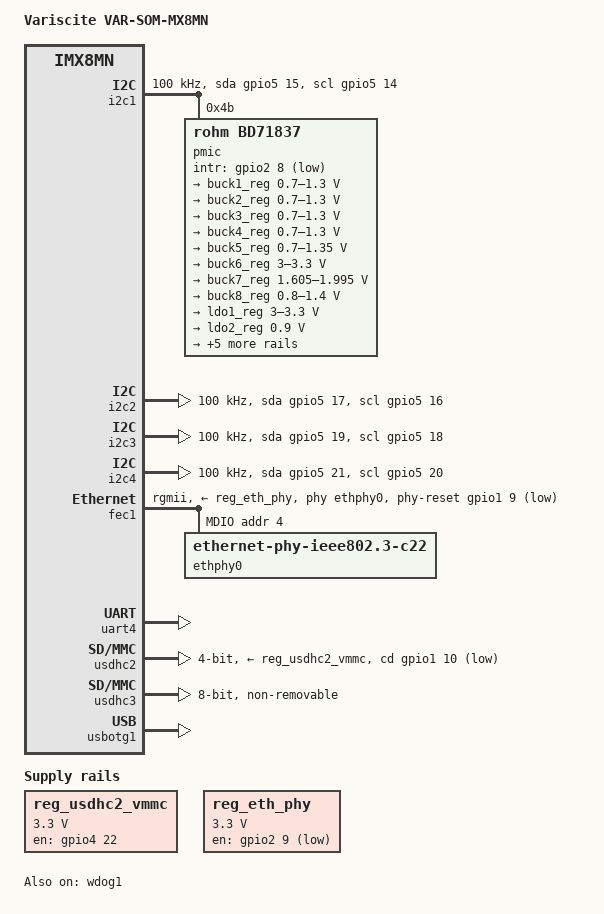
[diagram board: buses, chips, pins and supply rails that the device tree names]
/*
 * Copyright 2018-2019 NXP
 * Copyright 2019-2020 Variscite Ltd.
 *
 * This program is free software; you can redistribute it and/or
 * modify it under the terms of the GNU General Public License
 * as published by the Free Software Foundation; either version 2
 * of the License, or (at your option) any later version.
 *
 * This program is distributed in the hope that it will be useful,
 * but WITHOUT ANY WARRANTY; without even the implied warranty of
 * MERCHANTABILITY or FITNESS FOR A PARTICULAR PURPOSE.  See the
 * GNU General Public License for more details.
 */

/dts-v1/;

#include "fsl-imx8mn.dtsi"

/ {
	model = "Variscite VAR-SOM-MX8MN";
	compatible = "variscite,imx8mn-var-som", "fsl,imx8mn";

	chosen {
		bootargs = "console=ttymxc3,115200 earlycon=ec_imx6q,0x30a60000,115200";
		stdout-path = &uart4;
	};

	regulators {
		compatible = "simple-bus";
		#address-cells = <1>;
		#size-cells = <0>;

		reg_usdhc2_vmmc: regulator-usdhc2 {
			compatible = "regulator-fixed";
			regulator-name = "VSD_3V3";
			regulator-min-microvolt = <3300000>;
			regulator-max-microvolt = <3300000>;
			gpio = <&gpio4 22 GPIO_ACTIVE_HIGH>;
			enable-active-high;
			startup-delay-us = <100>;
			u-boot,off-on-delay-us = <12000>;
		};

		reg_eth_phy: eth_phy {
			compatible = "regulator-fixed";
			regulator-name = "eth_phy_pwr";
			regulator-min-microvolt = <3300000>;
			regulator-max-microvolt = <3300000>;
			gpio = <&gpio2 9 GPIO_ACTIVE_HIGH>;
		};
	};
};

&iomuxc {
	pinctrl-names = "default";

	imx8mn-var-som {
		pinctrl_fec1: fec1grp {
			fsl,pins = <
				MX8MN_IOMUXC_ENET_MDC__ENET1_MDC		0x3
				MX8MN_IOMUXC_ENET_MDIO__ENET1_MDIO		0x3
				MX8MN_IOMUXC_ENET_TD3__ENET1_RGMII_TD3		0x1f
				MX8MN_IOMUXC_ENET_TD2__ENET1_RGMII_TD2		0x1f
				MX8MN_IOMUXC_ENET_TD1__ENET1_RGMII_TD1		0x1f
				MX8MN_IOMUXC_ENET_TD0__ENET1_RGMII_TD0		0x1f
				MX8MN_IOMUXC_ENET_RD3__ENET1_RGMII_RD3		0x91
				MX8MN_IOMUXC_ENET_RD2__ENET1_RGMII_RD2		0x91
				MX8MN_IOMUXC_ENET_RD1__ENET1_RGMII_RD1		0x91
				MX8MN_IOMUXC_ENET_RD0__ENET1_RGMII_RD0		0x91
				MX8MN_IOMUXC_ENET_TXC__ENET1_RGMII_TXC		0x1f
				MX8MN_IOMUXC_ENET_RXC__ENET1_RGMII_RXC		0x91
				MX8MN_IOMUXC_ENET_RX_CTL__ENET1_RGMII_RX_CTL	0x91
				MX8MN_IOMUXC_ENET_TX_CTL__ENET1_RGMII_TX_CTL	0x1f
				MX8MN_IOMUXC_GPIO1_IO09__GPIO1_IO9		0x19
				MX8MN_IOMUXC_SD1_DATA7__GPIO2_IO9 		0x41
			>;
		};

		pinctrl_i2c1: i2c1grp {
			fsl,pins = <
				MX8MN_IOMUXC_I2C1_SCL__I2C1_SCL			0x400001c3
				MX8MN_IOMUXC_I2C1_SDA__I2C1_SDA			0x400001c3
			>;
		};

		pinctrl_i2c2: i2c2grp {
			fsl,pins = <
				MX8MN_IOMUXC_I2C2_SCL__I2C2_SCL			0x400001c3
				MX8MN_IOMUXC_I2C2_SDA__I2C2_SDA			0x400001c3
			>;
		};

		pinctrl_i2c3: i2c3grp {
			fsl,pins = <
				MX8MN_IOMUXC_I2C3_SCL__I2C3_SCL			0x400001c3
				MX8MN_IOMUXC_I2C3_SDA__I2C3_SDA			0x400001c3
			>;
		};

		pinctrl_i2c4: i2c4grp {
			fsl,pins = <
				MX8MN_IOMUXC_I2C4_SCL__I2C4_SCL			0x400001c3
				MX8MN_IOMUXC_I2C4_SDA__I2C4_SDA			0x400001c3
			>;
		};

		pinctrl_i2c1_gpio: i2c1grp-gpio {
			fsl,pins = <
				MX8MN_IOMUXC_I2C1_SCL__GPIO5_IO14		0x1c3
				MX8MN_IOMUXC_I2C1_SDA__GPIO5_IO15		0x1c3
			>;
		};

		pinctrl_i2c2_gpio: i2c2grp-gpio {
			fsl,pins = <
				MX8MN_IOMUXC_I2C2_SCL__GPIO5_IO16		0x1c3
				MX8MN_IOMUXC_I2C2_SDA__GPIO5_IO17		0x1c3
			>;
		};

		pinctrl_i2c3_gpio: i2c3grp-gpio {
			fsl,pins = <
				MX8MN_IOMUXC_I2C3_SCL__GPIO5_IO18		0x1c3
				MX8MN_IOMUXC_I2C3_SDA__GPIO5_IO19		0x1c3
			>;
		};

		pinctrl_i2c4_gpio: i2c4grp-gpio {
			fsl,pins = <
				MX8MN_IOMUXC_I2C4_SCL__GPIO5_IO20		0x1c3
				MX8MN_IOMUXC_I2C4_SDA__GPIO5_IO21		0x1c3
			>;
		};

		pinctrl_pmic: pmicirq {
			fsl,pins = <
				MX8MN_IOMUXC_SD1_DATA6__GPIO2_IO8		0x41
			>;
		};

		pinctrl_uart4: uart4grp {
			fsl,pins = <
				MX8MN_IOMUXC_UART4_RXD__UART4_DCE_RX		0x49
				MX8MN_IOMUXC_UART4_TXD__UART4_DCE_TX		0x49
			>;
		};

		pinctrl_usdhc2_gpio: usdhc2grpgpio {
			fsl,pins = <
				MX8MN_IOMUXC_SAI2_RXC__GPIO4_IO22		0x41
				MX8MN_IOMUXC_GPIO1_IO10__GPIO1_IO10		0x41
			>;
		};

		pinctrl_usdhc2: usdhc2grp {
			fsl,pins = <
				MX8MN_IOMUXC_SD2_CLK__USDHC2_CLK		0x190
				MX8MN_IOMUXC_SD2_CMD__USDHC2_CMD		0x1d0
				MX8MN_IOMUXC_SD2_DATA0__USDHC2_DATA0		0x1d0
				MX8MN_IOMUXC_SD2_DATA1__USDHC2_DATA1		0x1d0
				MX8MN_IOMUXC_SD2_DATA2__USDHC2_DATA2		0x1d0
				MX8MN_IOMUXC_SD2_DATA3__USDHC2_DATA3		0x1d0
				MX8MN_IOMUXC_GPIO1_IO04__USDHC2_VSELECT		0x1d0
			>;
		};

		pinctrl_usdhc2_100mhz: usdhc2grp100mhz {
			fsl,pins = <
				MX8MN_IOMUXC_SD2_CLK__USDHC2_CLK		0x194
				MX8MN_IOMUXC_SD2_CMD__USDHC2_CMD		0x1d4
				MX8MN_IOMUXC_SD2_DATA0__USDHC2_DATA0		0x1d4
				MX8MN_IOMUXC_SD2_DATA1__USDHC2_DATA1		0x1d4
				MX8MN_IOMUXC_SD2_DATA2__USDHC2_DATA2		0x1d4
				MX8MN_IOMUXC_SD2_DATA3__USDHC2_DATA3		0x1d4
				MX8MN_IOMUXC_GPIO1_IO04__USDHC2_VSELECT		0x1d0
			>;
		};

		pinctrl_usdhc2_200mhz: usdhc2grp200mhz {
			fsl,pins = <
				MX8MN_IOMUXC_SD2_CLK__USDHC2_CLK		0x196
				MX8MN_IOMUXC_SD2_CMD__USDHC2_CMD		0x1d6
				MX8MN_IOMUXC_SD2_DATA0__USDHC2_DATA0		0x1d6
				MX8MN_IOMUXC_SD2_DATA1__USDHC2_DATA1		0x1d6
				MX8MN_IOMUXC_SD2_DATA2__USDHC2_DATA2		0x1d6
				MX8MN_IOMUXC_SD2_DATA3__USDHC2_DATA3		0x1d6
				MX8MN_IOMUXC_GPIO1_IO04__USDHC2_VSELECT		0x1d0
			>;
		};

		pinctrl_usdhc3: usdhc3grp {
			fsl,pins = <
				MX8MN_IOMUXC_NAND_WE_B__USDHC3_CLK		0x40000190
				MX8MN_IOMUXC_NAND_WP_B__USDHC3_CMD		0x1d0
				MX8MN_IOMUXC_NAND_DATA04__USDHC3_DATA0		0x1d0
				MX8MN_IOMUXC_NAND_DATA05__USDHC3_DATA1		0x1d0
				MX8MN_IOMUXC_NAND_DATA06__USDHC3_DATA2		0x1d0
				MX8MN_IOMUXC_NAND_DATA07__USDHC3_DATA3		0x1d0
				MX8MN_IOMUXC_NAND_RE_B__USDHC3_DATA4		0x1d0
				MX8MN_IOMUXC_NAND_CE2_B__USDHC3_DATA5		0x1d0
				MX8MN_IOMUXC_NAND_CE3_B__USDHC3_DATA6		0x1d0
				MX8MN_IOMUXC_NAND_CLE__USDHC3_DATA7		0x1d0
				MX8MN_IOMUXC_NAND_CE1_B__USDHC3_STROBE 		0x190
			>;
		};

		pinctrl_usdhc3_100mhz: usdhc3grp100mhz {
			fsl,pins = <
				MX8MN_IOMUXC_NAND_WE_B__USDHC3_CLK		0x40000194
				MX8MN_IOMUXC_NAND_WP_B__USDHC3_CMD		0x1d4
				MX8MN_IOMUXC_NAND_DATA04__USDHC3_DATA0		0x1d4
				MX8MN_IOMUXC_NAND_DATA05__USDHC3_DATA1		0x1d4
				MX8MN_IOMUXC_NAND_DATA06__USDHC3_DATA2		0x1d4
				MX8MN_IOMUXC_NAND_DATA07__USDHC3_DATA3		0x1d4
				MX8MN_IOMUXC_NAND_RE_B__USDHC3_DATA4		0x1d4
				MX8MN_IOMUXC_NAND_CE2_B__USDHC3_DATA5		0x1d4
				MX8MN_IOMUXC_NAND_CE3_B__USDHC3_DATA6		0x1d4
				MX8MN_IOMUXC_NAND_CLE__USDHC3_DATA7		0x1d4
				MX8MN_IOMUXC_NAND_CE1_B__USDHC3_STROBE 		0x194
			>;
		};

		pinctrl_usdhc3_200mhz: usdhc3grp200mhz {
			fsl,pins = <
				MX8MN_IOMUXC_NAND_WE_B__USDHC3_CLK		0x40000196
				MX8MN_IOMUXC_NAND_WP_B__USDHC3_CMD		0x1d6
				MX8MN_IOMUXC_NAND_DATA04__USDHC3_DATA0		0x1d6
				MX8MN_IOMUXC_NAND_DATA05__USDHC3_DATA1		0x1d6
				MX8MN_IOMUXC_NAND_DATA06__USDHC3_DATA2		0x1d6
				MX8MN_IOMUXC_NAND_DATA07__USDHC3_DATA3		0x1d6
				MX8MN_IOMUXC_NAND_RE_B__USDHC3_DATA4		0x1d6
				MX8MN_IOMUXC_NAND_CE2_B__USDHC3_DATA5		0x1d6
				MX8MN_IOMUXC_NAND_CE3_B__USDHC3_DATA6		0x1d6
				MX8MN_IOMUXC_NAND_CLE__USDHC3_DATA7		0x1d6
				MX8MN_IOMUXC_NAND_CE1_B__USDHC3_STROBE 		0x196
			>;
		};

		pinctrl_wdog: wdoggrp {
			fsl,pins = <
				MX8MN_IOMUXC_GPIO1_IO02__WDOG1_WDOG_B		0xc6
			>;
		};
	};
};

&i2c1 {
	clock-frequency = <100000>;
	pinctrl-names = "default", "gpio";
	pinctrl-0 = <&pinctrl_i2c1>;
	pinctrl-1 = <&pinctrl_i2c1_gpio>;
	scl-gpios = <&gpio5 14 GPIO_ACTIVE_HIGH>;
	sda-gpios = <&gpio5 15 GPIO_ACTIVE_HIGH>;
	u-boot,dm-pre-reloc;
	status = "okay";

	pmic: bd71837@4b {
		reg = <0x4b>;
		compatible = "rohm,bd71837";
		/* PMIC BD71837 PMIC_nINT GPIO1_IO3 */
		pinctrl-0 = <&pinctrl_pmic>;
		gpio_intr = <&gpio2 8 GPIO_ACTIVE_LOW>;

		gpo {
			rohm,drv = <0x0C>;	/* 0b0000_1100 all gpos with cmos output mode */
		};

		regulators {
			#address-cells = <1>;
			#size-cells = <0>;

			bd71837,pmic-buck2-uses-i2c-dvs;
			bd71837,pmic-buck2-dvs-voltage = <1000000>, <900000>, <0>; /* VDD_ARM: Run-Idle */

			buck1_reg: regulator@0 {
				reg = <0>;
				regulator-compatible = "buck1";
				regulator-min-microvolt = <700000>;
				regulator-max-microvolt = <1300000>;
				regulator-boot-on;
				regulator-always-on;
				regulator-ramp-delay = <1250>;
			};

			buck2_reg: regulator@1 {
				reg = <1>;
				regulator-compatible = "buck2";
				regulator-min-microvolt = <700000>;
				regulator-max-microvolt = <1300000>;
				regulator-boot-on;
				regulator-always-on;
				regulator-ramp-delay = <1250>;
			};

			buck3_reg: regulator@2 {
				reg = <2>;
				regulator-compatible = "buck3";
				regulator-min-microvolt = <700000>;
				regulator-max-microvolt = <1300000>;
			};

			buck4_reg: regulator@3 {
				reg = <3>;
				regulator-compatible = "buck4";
				regulator-min-microvolt = <700000>;
				regulator-max-microvolt = <1300000>;
			};

			buck5_reg: regulator@4 {
				reg = <4>;
				regulator-compatible = "buck5";
				regulator-min-microvolt = <700000>;
				regulator-max-microvolt = <1350000>;
			};

			buck6_reg: regulator@5 {
				reg = <5>;
				regulator-compatible = "buck6";
				regulator-min-microvolt = <3000000>;
				regulator-max-microvolt = <3300000>;
				regulator-boot-on;
				regulator-always-on;
			};

			buck7_reg: regulator@6 {
				reg = <6>;
				regulator-compatible = "buck7";
				regulator-min-microvolt = <1605000>;
				regulator-max-microvolt = <1995000>;
				regulator-boot-on;
				regulator-always-on;
			};

			buck8_reg: regulator@7 {
				reg = <7>;
				regulator-compatible = "buck8";
				regulator-min-microvolt = <800000>;
				regulator-max-microvolt = <1400000>;
				regulator-boot-on;
				regulator-always-on;
			};

			ldo1_reg: regulator@8 {
				reg = <8>;
				regulator-compatible = "ldo1";
				regulator-min-microvolt = <3000000>;
				regulator-max-microvolt = <3300000>;
				regulator-boot-on;
				regulator-always-on;
			};

			ldo2_reg: regulator@9 {
				reg = <9>;
				regulator-compatible = "ldo2";
				regulator-min-microvolt = <900000>;
				regulator-max-microvolt = <900000>;
				regulator-boot-on;
				regulator-always-on;
			};

			ldo3_reg: regulator@10 {
				reg = <10>;
				regulator-compatible = "ldo3";
				regulator-min-microvolt = <1800000>;
				regulator-max-microvolt = <3300000>;
				regulator-boot-on;
				regulator-always-on;
			};

			ldo4_reg: regulator@11 {
				reg = <11>;
				regulator-compatible = "ldo4";
				regulator-min-microvolt = <900000>;
				regulator-max-microvolt = <1800000>;
			};

			ldo5_reg: regulator@12 {
				reg = <12>;
				regulator-compatible = "ldo5";
				regulator-min-microvolt = <1800000>;
				regulator-max-microvolt = <3300000>;
			};

			ldo6_reg: regulator@13 {
				reg = <13>;
				regulator-compatible = "ldo6";
				regulator-min-microvolt = <900000>;
				regulator-max-microvolt = <1800000>;
				regulator-boot-on;
				regulator-always-on;
			};

			ldo7_reg: regulator@14 {
				reg = <14>;
				regulator-compatible = "ldo7";
				regulator-min-microvolt = <1800000>;
				regulator-max-microvolt = <3300000>;
			};
		};
	};
};

&i2c2 {
	clock-frequency = <100000>;
	pinctrl-names = "default", "gpio";
	pinctrl-0 = <&pinctrl_i2c2>;
	pinctrl-1 = <&pinctrl_i2c2_gpio>;
	scl-gpios = <&gpio5 16 GPIO_ACTIVE_HIGH>;
	sda-gpios = <&gpio5 17 GPIO_ACTIVE_HIGH>;
	status = "okay";
};

&i2c3 {
	clock-frequency = <100000>;
	pinctrl-names = "default", "gpio";
	pinctrl-0 = <&pinctrl_i2c3>;
	pinctrl-1 = <&pinctrl_i2c3_gpio>;
	scl-gpios = <&gpio5 18 GPIO_ACTIVE_HIGH>;
	sda-gpios = <&gpio5 19 GPIO_ACTIVE_HIGH>;
	status = "okay";
};

&i2c4 {
	clock-frequency = <100000>;
	pinctrl-names = "default", "gpio";
	pinctrl-0 = <&pinctrl_i2c4>;
	pinctrl-1 = <&pinctrl_i2c4_gpio>;
	scl-gpios = <&gpio5 20 GPIO_ACTIVE_HIGH>;
	sda-gpios = <&gpio5 21 GPIO_ACTIVE_HIGH>;
	status = "okay";
};

&fec1 {
	pinctrl-names = "default";
	pinctrl-0 = <&pinctrl_fec1>;
	phy-mode = "rgmii";
	phy-handle = <&ethphy0>;
	fsl,magic-packet;
	phy-supply = <&reg_eth_phy>;
	phy-reset-gpios = <&gpio1 9 GPIO_ACTIVE_LOW>;
	phy-reset-duration = <10>;
	status = "okay";

	mdio {
		#address-cells = <1>;
		#size-cells = <0>;

		ethphy0: ethernet-phy@0 {
			compatible = "ethernet-phy-ieee802.3-c22";
			reg = <4>;
			at803x,led-act-blind-workaround;
			at803x,eee-okay;
			at803x,vddio-1p8v;
		};
	};
};

 /* Console */
&uart4 {
	pinctrl-names = "default";
	pinctrl-0 = <&pinctrl_uart4>;
	status = "okay";
};

&usdhc2 {
	pinctrl-names = "default", "state_100mhz", "state_200mhz";
	pinctrl-0 = <&pinctrl_usdhc2>, <&pinctrl_usdhc2_gpio>;
	pinctrl-1 = <&pinctrl_usdhc2_100mhz>, <&pinctrl_usdhc2_gpio>;
	pinctrl-2 = <&pinctrl_usdhc2_200mhz>, <&pinctrl_usdhc2_gpio>;
	bus-width = <4>;
	cd-gpios = <&gpio1 10 GPIO_ACTIVE_LOW>;
	vmmc-supply = <&reg_usdhc2_vmmc>;
	status = "okay";
};

&usdhc3 {
	pinctrl-names = "default", "state_100mhz", "state_200mhz";
	pinctrl-0 = <&pinctrl_usdhc3>;
	pinctrl-1 = <&pinctrl_usdhc3_100mhz>;
	pinctrl-2 = <&pinctrl_usdhc3_200mhz>;
	bus-width = <8>;
	non-removable;
	status = "okay";
};

&wdog1 {
	pinctrl-names = "default";
	pinctrl-0 = <&pinctrl_wdog>;
	fsl,ext-reset-output;
	status = "okay";
};

&A53_0 {
	arm-supply = <&buck2_reg>;
};

&usbotg1 {
	status = "okay";
};

&gpio5 {
	u-boot,dm-pre-reloc;
};
